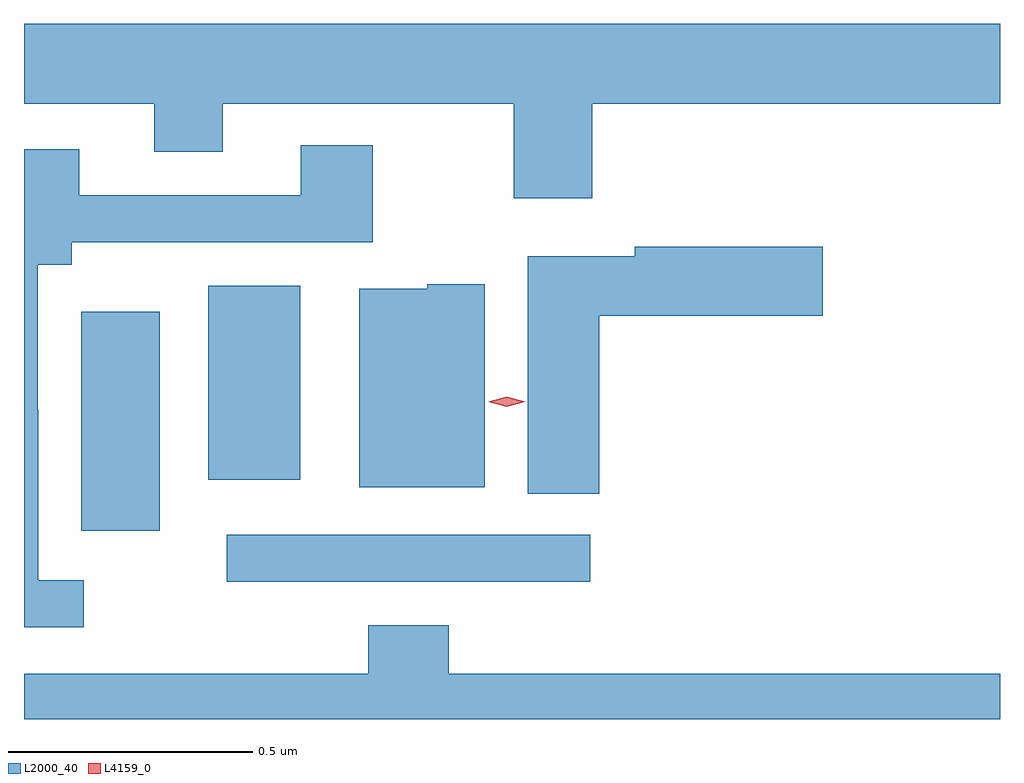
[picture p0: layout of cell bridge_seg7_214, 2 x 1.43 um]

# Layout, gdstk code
import gdstk
lib = gdstk.Library(unit=1e-6, precision=1e-09)
def R(c, l, rs):  # rectangles x0, y0, x1, y1
    for r in rs: c.add(gdstk.rectangle(r[:2], r[2:], *l))
def P(c, l, *ps):  # polygons
    for p in ps: c.add(gdstk.Polygon(p, *l))
L2000_40 = (2000, 40)
L4159_0 = (4159, 0)

bridge_seg7_214 = lib.new_cell('bridge_seg7_214')
R(bridge_seg7_214, L2000_40, [(234.441,1019.616,235.186,1019.712), (234.143,1019.721,234.304,1020.169), (234.404,1019.825,234.592,1020.223)])
P(bridge_seg7_214, L2000_40, [(235.19,1020.596),(236.026,1020.596),(236.026,1020.76),(234.026,1020.76),(234.026,1020.596),(234.293,1020.596),(234.293,1020.497),(234.433,1020.497),(234.433,1020.596),(235.03,1020.596),(235.03,1020.402),(235.19,1020.402)],
  [(234.148,1019.619),(234.055,1019.619),(234.055,1019.969),(234.054,1019.969),(234.054,1020.266),(234.124,1020.266),(234.124,1020.312),(234.741,1020.312),(234.741,1020.511),(234.593,1020.511),(234.593,1020.408),(234.139,1020.408),(234.139,1020.502),(234.026,1020.502),(234.026,1019.523),(234.148,1019.523)],
  [(235.205,1020.161),(235.663,1020.161),(235.663,1020.303),(235.278,1020.303),(235.278,1020.283),(235.058,1020.283),(235.058,1019.797),(235.205,1019.797)],
  [(234.97,1020.226),(234.852,1020.226),(234.852,1020.217),(234.713,1020.217),(234.713,1019.81),(234.97,1019.81)],
  [(236.026,1019.428),(234.896,1019.428),(234.896,1019.527),(234.731,1019.527),(234.731,1019.428),(234.026,1019.428),(234.026,1019.334),(236.026,1019.334)])
P(bridge_seg7_214, L4159_0, [(235.015,1019.975),(234.977,1019.985),(234.977,1019.985),(234.977,1019.985),(235.015,1019.995),(235.053,1019.985),(235.054,1019.985),(235.053,1019.985)])

lib.write_gds('bridge_seg7_214.gds')
